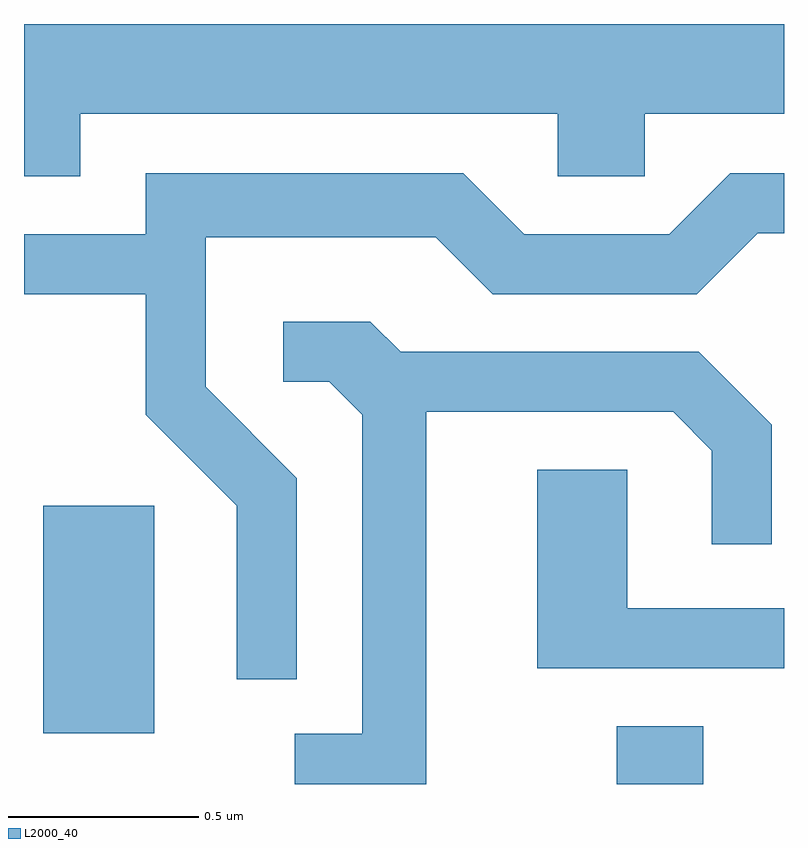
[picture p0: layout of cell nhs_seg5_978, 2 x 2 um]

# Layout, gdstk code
import gdstk
lib = gdstk.Library(unit=1e-6, precision=1e-09)
def R(c, l, rs):  # rectangles x0, y0, x1, y1
    for r in rs: c.add(gdstk.rectangle(r[:2], r[2:], *l))
def P(c, l, *ps):  # polygons
    for p in ps: c.add(gdstk.Polygon(p, *l))
L2000_40 = (2000, 40)

nhs_seg5_978 = lib.new_cell('nhs_seg5_978')
R(nhs_seg5_978, L2000_40, [(194.171,1415.072,194.399,1415.224), (192.661,1415.206,192.954,1415.804)])
P(nhs_seg5_978, L2000_40, [(192.759,1416.836),(194.016,1416.836),(194.016,1416.671),(194.244,1416.671),(194.244,1416.836),(194.611,1416.836),(194.611,1417.072),(192.611,1417.072),(192.611,1416.671),(192.759,1416.671)],
  [(193.329,1415.877),(193.089,1416.117),(193.089,1416.511),(193.694,1416.511),(193.844,1416.361),(194.382,1416.361),(194.542,1416.521),(194.611,1416.521),(194.611,1416.679),(194.469,1416.679),(194.309,1416.519),(193.927,1416.519),(193.767,1416.679),(192.931,1416.679),(192.931,1416.519),(192.611,1416.519),(192.611,1416.361),(192.931,1416.361),(192.931,1416.044),(193.171,1415.804),(193.171,1415.348),(193.329,1415.348)],
  [(193.669,1416.051),(194.319,1416.051),(194.421,1415.949),(194.421,1415.703),(194.579,1415.703),(194.579,1416.017),(194.387,1416.209),(193.602,1416.209),(193.522,1416.289),(193.293,1416.289),(193.293,1416.131),(193.414,1416.131),(193.501,1416.044),(193.501,1415.204),(193.323,1415.204),(193.323,1415.072),(193.669,1415.072)],
  [(194.611,1415.534),(194.199,1415.534),(194.199,1415.899),(193.961,1415.899),(193.961,1415.376),(194.611,1415.376)])

lib.write_gds('nhs_seg5_978.gds')
